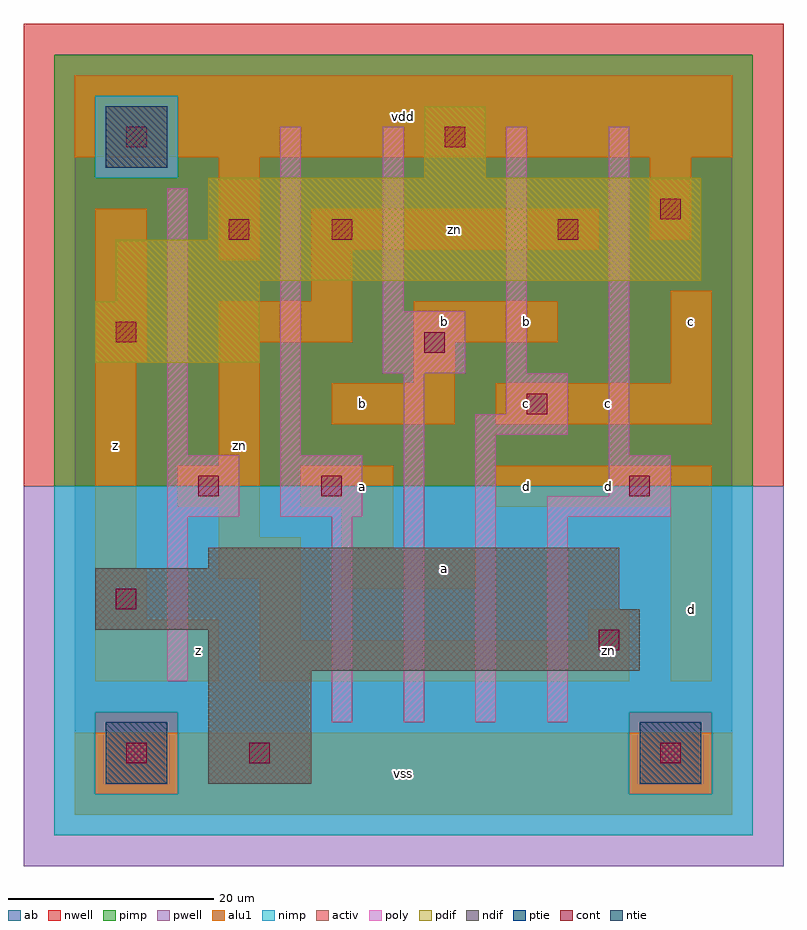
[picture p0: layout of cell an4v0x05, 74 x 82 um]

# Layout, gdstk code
import gdstk
lib = gdstk.Library(unit=1e-6, precision=1e-09)
def R(c, l, rs):  # rectangles x0, y0, x1, y1
    for r in rs: c.add(gdstk.rectangle(r[:2], r[2:], *l))
ndif = (3, 0)
pdif = (4, 0)
ntie = (5, 0)
ptie = (6, 0)
cont = (25, 0)
pwell = (41, 0)
nwell = (42, 0)
activ = (43, 0)
pimp = (44, 0)
nimp = (45, 0)
poly = (46, 0)
alu1 = (49, 0)
ab = (63, 0)

an4v0x05 = lib.new_cell('an4v0x05')
R(an4v0x05, ndif, [(13,3,23,14), (13,14,55,18), (2,18,55,20), (2,20,53,24), (13,24,53,26)])
R(an4v0x05, pdif, [(2,44,18,50), (4,50,18,52), (4,52,61,56), (13,56,61,62), (34,62,40,69)])
R(an4v0x05, ntie, [(3,63,9,69)])
R(an4v0x05, ptie, [(3,3,9,9), (55,3,61,9)])
R(an4v0x05, cont, [(5,5,7,7), (17,5,19,7), (57,5,59,7), (51,16,53,18), (4,20,6,22), (12,31,14,33), (24,31,26,33), (54,31,56,33), (44,39,46,41), (34,45,36,47), (4,46,6,48), (15,56,17,58), (25,56,27,58), (47,56,49,58), (57,58,59,60), (5,65,7,67), (36,65,38,67)])
R(an4v0x05, pwell, [(-5,-5,69,32)])
R(an4v0x05, nwell, [(-5,32,69,77)])
R(an4v0x05, activ, [(3,3,9,9), (13,3,23,14), (55,3,61,9), (13,14,55,18), (2,18,55,20), (2,20,53,24), (13,24,53,26), (2,44,18,50), (4,50,18,52), (4,52,61,56), (13,56,61,62), (34,62,40,69), (3,63,9,69)])
R(an4v0x05, pimp, [(2,2,10,10), (54,2,62,10), (-2,32,66,62), (-2,62,2,70), (10,62,66,70), (-2,70,66,74)])
R(an4v0x05, nimp, [(-2,-2,66,2), (-2,2,2,10), (10,2,54,10), (62,2,66,10), (-2,10,66,32), (2,62,10,70)])
R(an4v0x05, poly, [(25,9,27,29), (32,9,34,43), (39,9,41,37), (46,9,48,29), (9,13,11,29), (9,29,16,35), (20,29,28,35), (46,29,58,31), (52,31,58,35), (9,35,11,61), (20,35,22,67), (52,35,54,67), (39,37,48,39), (42,39,48,43), (30,43,38,49), (42,43,44,67), (30,49,32,67)])
R(an4v0x05, alu1, [(0,0,64,8), (2,13,14,19), (18,13,54,17), (58,13,62,30), (18,17,22,23), (50,17,54,20), (2,19,7,24), (26,22,39,26), (14,23,22,27), (2,24,6,44), (26,26,31,30), (14,27,18,30), (10,30,18,34), (22,30,31,34), (41,30,62,34), (14,34,18,46), (25,38,37,42), (41,38,62,42), (33,42,37,46), (58,42,62,51), (2,44,7,59), (14,46,27,50), (33,46,47,50), (23,50,27,55), (14,54,18,64), (23,55,51,59), (56,56,60,64), (0,64,64,72)])
R(an4v0x05, ab, [(0,0,64,72)])
an4v0x05.add(gdstk.Label('zn', (16,36), layer=49, texttype=0))
an4v0x05.add(gdstk.Label('zn', (52,16), layer=49, texttype=0))
an4v0x05.add(gdstk.Label('zn', (37,57), layer=49, texttype=0))
an4v0x05.add(gdstk.Label('z', (12,16), layer=49, texttype=0))
an4v0x05.add(gdstk.Label('z', (4,36), layer=49, texttype=0))
an4v0x05.add(gdstk.Label('a', (28,32), layer=49, texttype=0))
an4v0x05.add(gdstk.Label('b', (28,40), layer=49, texttype=0))
an4v0x05.add(gdstk.Label('vss', (32,4), layer=49, texttype=0))
an4v0x05.add(gdstk.Label('a', (36,24), layer=49, texttype=0))
an4v0x05.add(gdstk.Label('d', (44,32), layer=49, texttype=0))
an4v0x05.add(gdstk.Label('c', (44,40), layer=49, texttype=0))
an4v0x05.add(gdstk.Label('b', (36,48), layer=49, texttype=0))
an4v0x05.add(gdstk.Label('b', (44,48), layer=49, texttype=0))
an4v0x05.add(gdstk.Label('vdd', (32,68), layer=49, texttype=0))
an4v0x05.add(gdstk.Label('d', (60,20), layer=49, texttype=0))
an4v0x05.add(gdstk.Label('d', (52,32), layer=49, texttype=0))
an4v0x05.add(gdstk.Label('c', (52,40), layer=49, texttype=0))
an4v0x05.add(gdstk.Label('c', (60,48), layer=49, texttype=0))

lib.write_gds('an4v0x05.gds')
